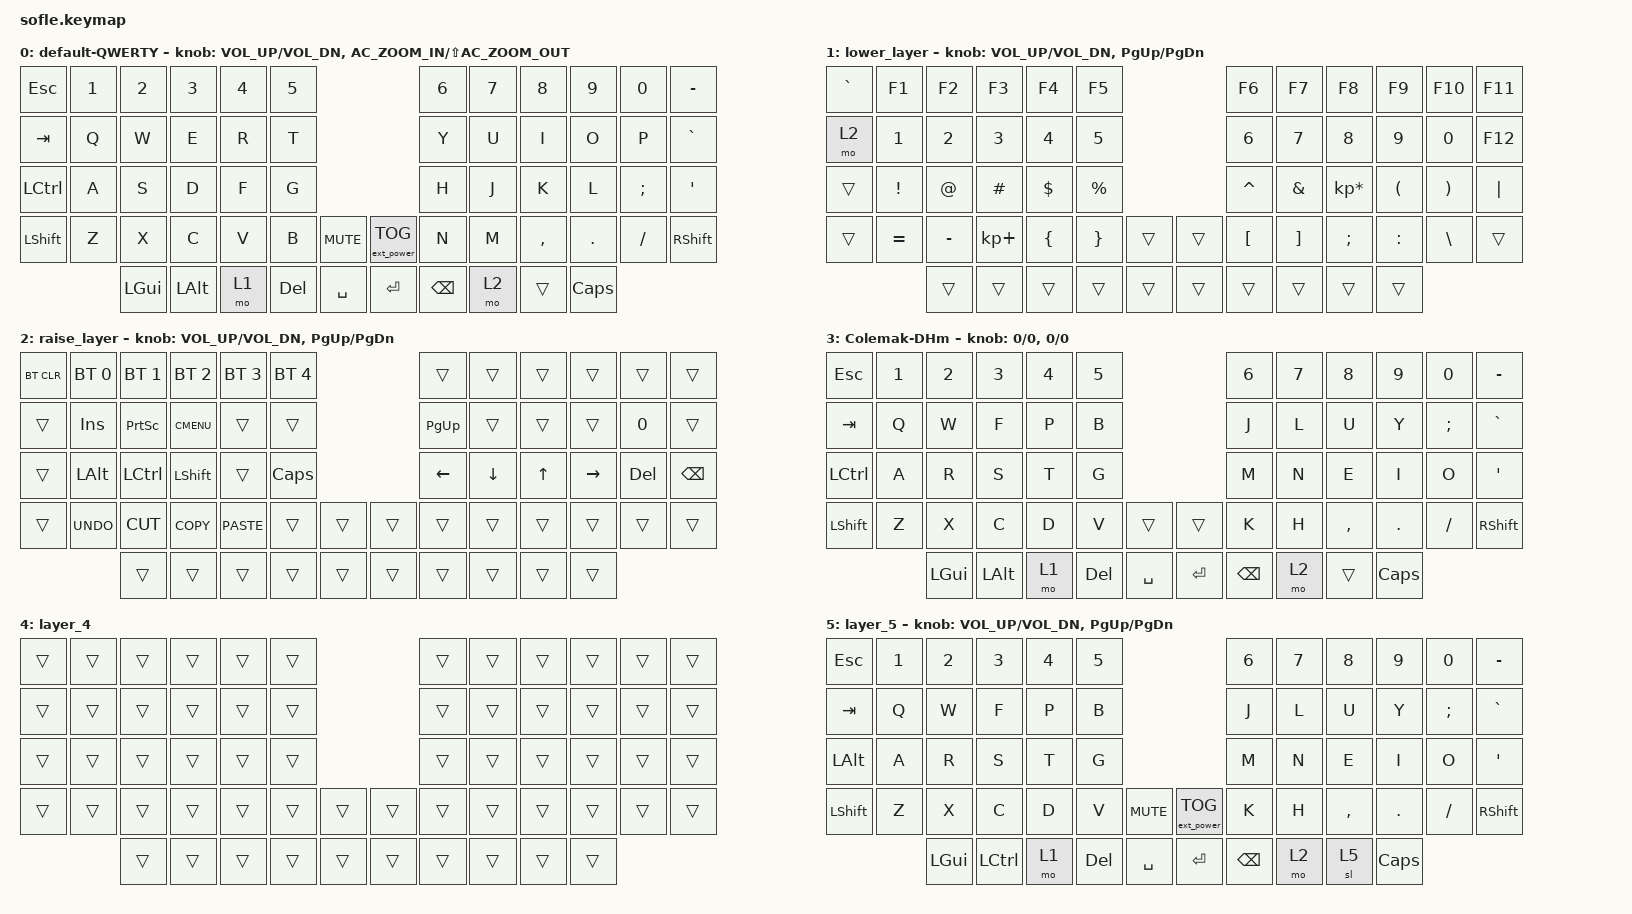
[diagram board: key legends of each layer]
/*
 * Copyright (c) 2020 The ZMK Contributors
 *
 * SPDX-License-Identifier: MIT
 */

#include <behaviors.dtsi>
#include <dt-bindings/zmk/bt.h>
#include <dt-bindings/zmk/ext_power.h>
#include <dt-bindings/zmk/keys.h>

/ {
    keymap {
        compatible = "zmk,keymap";

        default-QWERTY {
            // ------------------------------------------------------------------------------------------------------------
            // |  `    |  1  |  2  |  3   |  4   |  5   |                   |  6   |  7    |  8    |  9   |   0   |       |
            // |  ESC  |  Q  |  W  |  E   |  R   |  T   |                   |  Y   |  U    |  I    |  O   |   P   | BKSPC |
            // |  TAB  |  A  |  S  |  D   |  F   |  G   |                   |  H   |  J    |  K    |  L   |   ;   |   '   |
            // | SHIFT |  Z  |  X  |  C   |  V   |  B   |  MUTE  |  |       |  N   |  M    |  ,    |  .   |   /   | SHIFT |
            //               | GUI | ALT  | CTRL | LOWER|  ENTER |  | SPACE | RAISE| CTRL  | ALT   | GUI  |

            bindings = <
&kp ESCAPE  &kp N1  &kp N2    &kp N3    &kp N4  &kp N5                                       &kp N6         &kp N7  &kp N8     &kp N9        &kp N0    &kp MINUS
&kp TAB     &kp Q   &kp W     &kp E     &kp R   &kp T                                        &kp Y          &kp U   &kp I      &kp O         &kp P     &kp GRAVE
&kp LCTRL   &kp A   &kp S     &kp D     &kp F   &kp G                                        &kp H          &kp J   &kp K      &kp L         &kp SEMI  &kp SQT
&kp LSHFT   &kp Z   &kp X     &kp C     &kp V   &kp B       &kp C_MUTE    &ext_power EP_TOG  &kp N          &kp M   &kp COMMA  &kp DOT       &kp FSLH  &kp RSHFT
                    &kp LGUI  &kp LALT  &mo 1   &kp DELETE  &kp SPACE     &kp ENTER          &kp BACKSPACE  &mo 2   &trans     &kp CAPSLOCK
            >;

            sensor-bindings =
                <&inc_dec_kp C_VOL_UP C_VOL_DN>,
                <&inc_dec_kp C_AC_ZOOM_IN LS(C_AC_ZOOM_OUT)>;
        };

        lower_layer {
            // TODO: Some binds are waiting for shifted keycode support.
            // ------------------------------------------------------------------------------------------------------------
            // | `     |  F1 |  F2 |  F3  |  F4  |  F5  |                   |  F6  |  F7   |  F8   |  F9  |  F10  |  F11  |
            // | RAISE |   1 |   2 |   3  |   4  |   5  |                   |   6  |   7   |   8   |   9  |    0  |  F12  |
            // |       |  !  |  @  |  #   |  $   |  %   |                   |  ^   |  &    |  *    |  (   |   )   |   |   |
            // |       |  =  |  -  |  +   |  {   |  }   |        |  |       |  [   |  ]    |  ;    |  :   |   \   |       |
            //               |     |      |      |      |        |  |       |      |       |       |      |

            bindings = <
&kp GRAVE  &kp F1     &kp F2     &kp F3       &kp F4    &kp F5                       &kp F6     &kp F7    &kp F8           &kp F9     &kp F10   &kp F11
&mo 2      &kp N1     &kp N2     &kp N3       &kp N4    &kp N5                       &kp N6     &kp N7    &kp N8           &kp N9     &kp N0    &kp F12
&trans     &kp EXCL   &kp AT     &kp HASH     &kp DLLR  &kp PRCNT                    &kp CARET  &kp AMPS  &kp KP_MULTIPLY  &kp LPAR   &kp RPAR  &kp PIPE
&trans     &kp EQUAL  &kp MINUS  &kp KP_PLUS  &kp LBRC  &kp RBRC   &trans    &trans  &kp LBKT   &kp RBKT  &kp SEMI         &kp COLON  &kp BSLH  &trans
                      &trans     &trans       &trans    &trans     &trans    &trans  &trans     &trans    &trans           &trans
            >;

            sensor-bindings = <&inc_dec_kp C_VOL_UP C_VOL_DN &inc_dec_kp PG_UP PG_DN>;
        };

        raise_layer {
            // ------------------------------------------------------------------------------------------------------------
            // |BTCLR| BT1  | BT2  |  BT3  |  BT4  |  BT5 |                |      |      |       |      |       |       |
            // |     | INS  | PSCR | GUI   |       |      |                | PGUP |      |       |      |       |       |
            // |     | ALT  | CTRL | SHIFT |       | CAPS |                |  <-  |   v  |   ^   |  ->  |  DEL  | BKSPC |
            // |     | UNDO | CUT  | COPY  | PASTE |      |      |  |      |      |      |       |      |       |       |
            //              |      |       |       |      |      |  |      |      |      |       |      |

            bindings = <
&bt BT_CLR  &bt BT_SEL 0  &bt BT_SEL 1  &bt BT_SEL 2  &bt BT_SEL 3  &bt BT_SEL 4                    &trans     &trans    &trans  &trans     &trans   &trans
&trans      &kp INS       &kp PSCRN     &kp K_CMENU   &trans        &trans                          &kp PG_UP  &trans    &trans  &trans     &kp N0   &trans
&trans      &kp LALT      &kp LCTRL     &kp LSHFT     &trans        &kp CLCK                        &kp LEFT   &kp DOWN  &kp UP  &kp RIGHT  &kp DEL  &kp BSPC
&trans      &kp K_UNDO    &kp K_CUT     &kp K_COPY    &kp K_PASTE   &trans        &trans    &trans  &trans     &trans    &trans  &trans     &trans   &trans
                          &trans        &trans        &trans        &trans        &trans    &trans  &trans     &trans    &trans  &trans
            >;

            sensor-bindings = <&inc_dec_kp C_VOL_UP C_VOL_DN &inc_dec_kp PG_UP PG_DN>;
        };

        Colemak-DHm {
            bindings = <
&kp ESC    &kp N1  &kp N2    &kp N3    &kp N4  &kp N5                         &kp N6    &kp N7  &kp N8     &kp N9        &kp N0    &kp MINUS
&kp TAB    &kp Q   &kp W     &kp F     &kp P   &kp B                          &kp J     &kp L   &kp U      &kp Y         &kp SEMI  &kp GRAVE
&kp LCTRL  &kp A   &kp R     &kp S     &kp T   &kp G                          &kp M     &kp N   &kp E      &kp I         &kp O     &kp SQT
&kp LSHFT  &kp Z   &kp X     &kp C     &kp D   &kp V    &trans       &trans   &kp K     &kp H   &kp COMMA  &kp DOT       &kp FSLH  &kp RSHFT
                   &kp LGUI  &kp LALT  &mo 1   &kp DEL  &kp SPACE    &kp RET  &kp BSPC  &mo 2   &trans     &kp CAPSLOCK
            >;

            sensor-bindings = <&inc_dec_kp 0 0>, <&inc_dec_kp 0 0>;
        };

        layer_4 {
            bindings = <
&trans  &trans  &trans  &trans  &trans  &trans                    &trans  &trans  &trans  &trans  &trans  &trans
&trans  &trans  &trans  &trans  &trans  &trans                    &trans  &trans  &trans  &trans  &trans  &trans
&trans  &trans  &trans  &trans  &trans  &trans                    &trans  &trans  &trans  &trans  &trans  &trans
&trans  &trans  &trans  &trans  &trans  &trans  &trans    &trans  &trans  &trans  &trans  &trans  &trans  &trans
                &trans  &trans  &trans  &trans  &trans    &trans  &trans  &trans  &trans  &trans
            >;
        };

        layer_5 {
            bindings = <
&kp ESCAPE    &kp N1  &kp N2    &kp N3            &kp N4  &kp N5                                       &kp N6         &kp N7  &kp N8     &kp N9        &kp N0         &kp MINUS
&kp TAB       &kp Q   &kp W     &kp F             &kp P   &kp B                                        &kp J          &kp L   &kp U      &kp Y         &kp SEMICOLON  &kp GRAVE
&kp LEFT_ALT  &kp A   &kp R     &kp S             &kp T   &kp G                                        &kp M          &kp N   &kp E      &kp I         &kp O          &kp SQT
&kp LSHFT     &kp Z   &kp X     &kp C             &kp D   &kp V       &kp C_MUTE    &ext_power EP_TOG  &kp K          &kp H   &kp COMMA  &kp DOT       &kp FSLH       &kp RSHFT
                      &kp LGUI  &kp LEFT_CONTROL  &mo 1   &kp DELETE  &kp SPACE     &kp ENTER          &kp BACKSPACE  &mo 2   &sl 5      &kp CAPSLOCK
            >;

            sensor-bindings =
                <&inc_dec_kp C_VOL_UP C_VOL_DN>,
                <&inc_dec_kp PG_UP PG_DN>;
        };
    };
};
